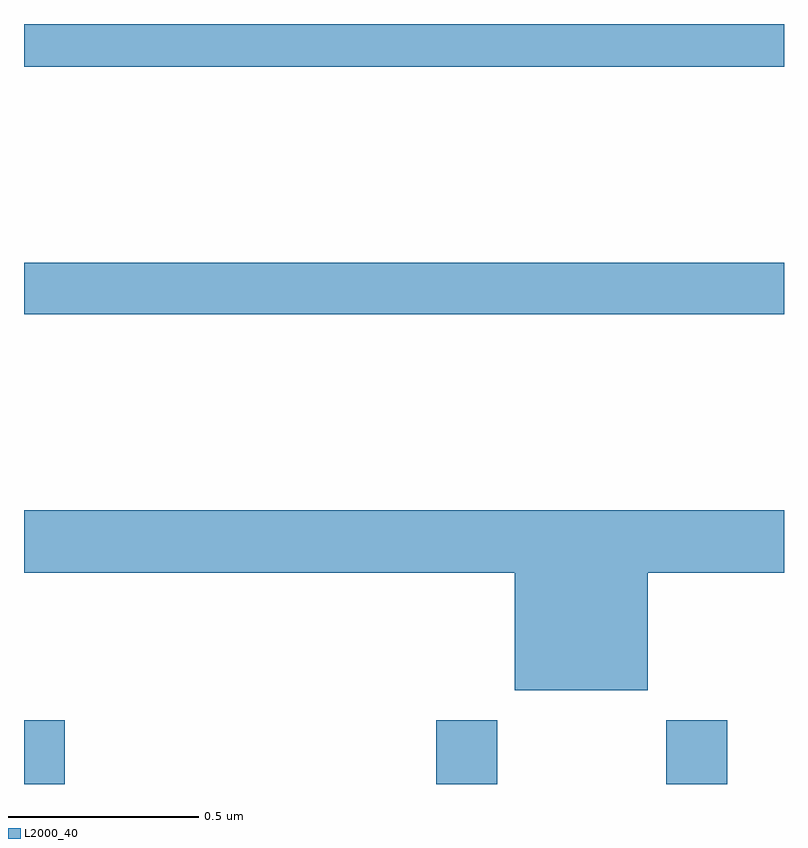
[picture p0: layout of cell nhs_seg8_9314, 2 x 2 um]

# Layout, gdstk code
import gdstk
lib = gdstk.Library(unit=1e-6, precision=1e-09)
def R(c, l, rs):  # rectangles x0, y0, x1, y1
    for r in rs: c.add(gdstk.rectangle(r[:2], r[2:], *l))
def P(c, l, *ps):  # polygons
    for p in ps: c.add(gdstk.Polygon(p, *l))
L2000_40 = (2000, 40)

nhs_seg8_9314 = lib.new_cell('nhs_seg8_9314')
R(nhs_seg8_9314, L2000_40, [(234,1159.9,234.107,1160.068), (235.085,1159.9,235.245,1160.068), (235.69,1159.9,235.85,1160.068), (234,1161.136,236,1161.272), (234,1161.788,236,1161.9)])
P(nhs_seg8_9314, L2000_40, [(235.642,1160.456),(236,1160.456),(236,1160.62),(234,1160.62),(234,1160.456),(235.292,1160.456),(235.292,1160.147),(235.642,1160.147)])

lib.write_gds('nhs_seg8_9314.gds')
